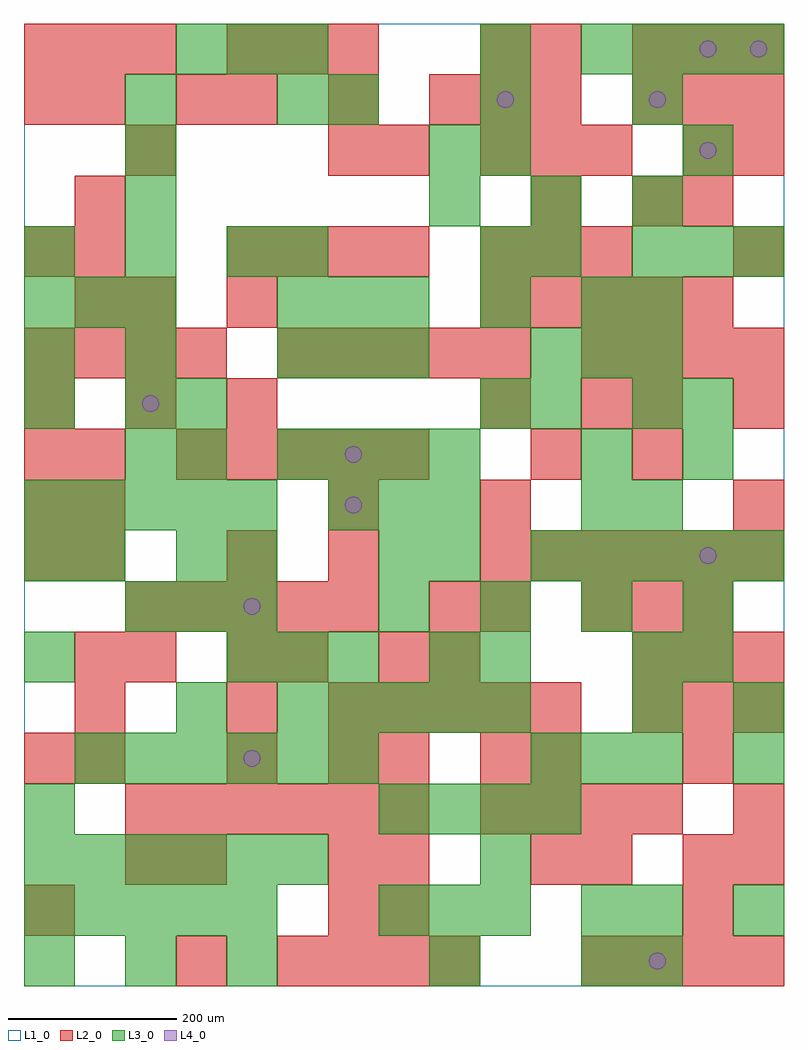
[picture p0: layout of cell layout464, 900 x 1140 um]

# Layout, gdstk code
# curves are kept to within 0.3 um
import gdstk
lib = gdstk.Library(unit=1e-6, precision=1e-09)
def R(c, l, rs):  # rectangles x0, y0, x1, y1
    for r in rs: c.add(gdstk.rectangle(r[:2], r[2:], *l))
def A(c, l, x, y, w, h, nx, ny, dx, dy):  # array of equal rectangles
    R(c, l, [(x+i*dx, y+j*dy, x+i*dx+w, y+j*dy+h) for i in range(nx) for j in range(ny)])
def P(c, l, *ps):  # polygons
    for p in ps: c.add(gdstk.Polygon(p, *l))
L1_0 = (1, 0)
L2_0 = (2, 0)
L3_0 = (3, 0)
L4_0 = (4, 0)

layout464 = lib.new_cell('layout464')
R(layout464, L1_0, [(0,0,900,1140)])
A(layout464, L2_0, 300, 0, 60, 60, 4, 1, 60, 0)
A(layout464, L2_0, 660, 0, 60, 60, 4, 2, 60, 720)
A(layout464, L2_0, 420, 120, 60, 60, 1, 3, 0, 120)
A(layout464, L2_0, 120, 180, 60, 60, 6, 1, 60, 0)
A(layout464, L2_0, 540, 180, 60, 60, 4, 1, 60, 0)
A(layout464, L2_0, 60, 240, 60, 60, 1, 3, 0, 60)
A(layout464, L2_0, 240, 240, 60, 60, 1, 3, 0, 60)
A(layout464, L2_0, 360, 300, 60, 60, 5, 1, 60, 0)
A(layout464, L2_0, 720, 300, 60, 60, 3, 2, 60, 60)
A(layout464, L2_0, 120, 420, 60, 60, 5, 1, 60, 0)
A(layout464, L2_0, 540, 420, 60, 60, 1, 3, 0, 120)
A(layout464, L2_0, 660, 420, 60, 60, 3, 1, 60, 0)
A(layout464, L2_0, 0, 480, 60, 60, 1, 3, 0, 60)
A(layout464, L2_0, 60, 480, 60, 60, 1, 3, 0, 60)
A(layout464, L2_0, 540, 480, 60, 60, 6, 1, 60, 0)
A(layout464, L2_0, 180, 600, 60, 60, 5, 1, 60, 0)
A(layout464, L2_0, 0, 660, 60, 60, 3, 1, 120, 0)
A(layout464, L2_0, 0, 720, 60, 60, 4, 1, 60, 0)
A(layout464, L2_0, 300, 720, 60, 60, 5, 1, 60, 0)
A(layout464, L2_0, 60, 780, 60, 60, 1, 3, 0, 60)
A(layout464, L2_0, 540, 780, 60, 60, 5, 1, 60, 0)
A(layout464, L2_0, 240, 840, 60, 60, 4, 1, 60, 0)
A(layout464, L2_0, 540, 840, 60, 60, 3, 2, 60, 120)
A(layout464, L2_0, 240, 1020, 60, 60, 3, 1, 120, 0)
A(layout464, L2_0, 720, 1020, 60, 60, 3, 2, 60, 60)
A(layout464, L2_0, 0, 1080, 60, 60, 3, 1, 60, 0)
A(layout464, L2_0, 240, 1080, 60, 60, 3, 1, 60, 0)
R(layout464, L2_0, [(180,0,240,60), (0,60,60,120), (360,60,420,120), (420,60,480,120), (780,60,840,120), (120,120,180,180), (180,120,240,180), (360,120,420,180), (600,120,660,180), (660,120,720,180), (780,120,840,180), (840,120,900,180), (840,180,900,240), (0,240,60,300), (360,240,420,300), (540,240,600,300), (600,240,660,300), (780,240,840,300), (120,360,180,420), (300,360,360,420), (480,360,540,420), (480,420,540,480), (240,480,300,540), (360,480,420,540), (360,540,420,600), (840,540,900,600), (600,600,660,660), (720,600,780,660), (660,660,720,720), (720,660,780,720), (840,660,900,720), (120,780,180,840), (240,780,300,840), (0,840,60,900), (840,840,900,900), (600,900,660,960), (720,900,780,960), (780,900,840,960), (120,960,180,1020), (360,960,420,1020), (420,960,480,1020), (780,960,840,1020), (840,960,900,1020), (0,1020,60,1080), (60,1020,120,1080), (180,1020,240,1080), (540,1020,600,1080), (600,1020,660,1080), (540,1080,600,1140), (600,1080,660,1140)])
A(layout464, L3_0, 0, 0, 60, 60, 3, 2, 120, 840)
A(layout464, L3_0, 0, 60, 60, 60, 5, 2, 60, 480)
A(layout464, L3_0, 420, 60, 60, 60, 3, 1, 60, 0)
A(layout464, L3_0, 0, 120, 60, 60, 6, 1, 60, 0)
A(layout464, L3_0, 420, 180, 60, 60, 4, 1, 60, 0)
A(layout464, L3_0, 60, 240, 60, 60, 6, 1, 60, 0)
A(layout464, L3_0, 600, 240, 60, 60, 3, 2, 60, 480)
A(layout464, L3_0, 300, 300, 60, 60, 5, 1, 60, 0)
A(layout464, L3_0, 240, 360, 60, 60, 3, 1, 60, 0)
A(layout464, L3_0, 120, 420, 60, 60, 3, 1, 60, 0)
A(layout464, L3_0, 420, 420, 60, 60, 4, 1, 120, 0)
A(layout464, L3_0, 600, 480, 60, 60, 5, 1, 60, 0)
A(layout464, L3_0, 360, 540, 60, 60, 3, 1, 60, 0)
A(layout464, L3_0, 720, 540, 60, 60, 1, 3, 0, 120)
A(layout464, L3_0, 120, 600, 60, 60, 1, 3, 0, 60)
A(layout464, L3_0, 300, 600, 60, 60, 4, 1, 60, 0)
A(layout464, L3_0, 300, 720, 60, 60, 3, 2, 60, 60)
A(layout464, L3_0, 0, 780, 60, 60, 3, 1, 60, 0)
A(layout464, L3_0, 540, 840, 60, 60, 1, 3, 0, 120)
A(layout464, L3_0, 720, 840, 60, 60, 3, 1, 60, 0)
A(layout464, L3_0, 120, 900, 60, 60, 1, 3, 0, 60)
A(layout464, L3_0, 480, 900, 60, 60, 3, 1, 120, 0)
A(layout464, L3_0, 360, 1020, 60, 60, 3, 1, 180, 0)
A(layout464, L3_0, 180, 1080, 60, 60, 3, 1, 60, 0)
A(layout464, L3_0, 660, 1080, 60, 60, 4, 1, 60, 0)
R(layout464, L3_0, [(480,0,540,60), (660,0,720,60), (720,0,780,60), (660,60,720,120), (720,60,780,120), (840,60,900,120), (540,120,600,180), (0,180,60,240), (840,240,900,300), (180,300,240,360), (720,300,780,360), (840,300,900,360), (0,360,60,420), (480,360,540,420), (540,360,600,420), (720,360,780,420), (780,360,840,420), (0,480,60,540), (60,480,120,540), (180,480,240,540), (240,480,300,540), (420,480,480,540), (480,480,540,540), (660,540,720,600), (180,600,240,660), (660,600,720,660), (780,600,840,660), (0,660,60,720), (180,660,240,720), (540,660,600,720), (600,660,660,720), (780,660,840,720), (0,720,60,780), (540,780,600,840), (660,780,720,840), (300,840,360,900), (600,840,660,900), (480,960,540,1020), (780,960,840,1020), (300,1020,360,1080)])
P(layout464, L4_0, [(160,690),(159.239,693.827),(157.071,697.071),(153.827,699.239),(150,700),(146.173,699.239),(142.929,697.071),(140.761,693.827),(140,690),(140.761,686.173),(142.929,682.929),(146.173,680.761),(150,680),(153.827,680.761),(157.071,682.929),(159.239,686.173)],
  [(280,270),(279.239,273.827),(277.071,277.071),(273.827,279.239),(270,280),(266.173,279.239),(262.929,277.071),(260.761,273.827),(260,270),(260.761,266.173),(262.929,262.929),(266.173,260.761),(270,260),(273.827,260.761),(277.071,262.929),(279.239,266.173)],
  [(280,450),(279.239,453.827),(277.071,457.071),(273.827,459.239),(270,460),(266.173,459.239),(262.929,457.071),(260.761,453.827),(260,450),(260.761,446.173),(262.929,442.929),(266.173,440.761),(270,440),(273.827,440.761),(277.071,442.929),(279.239,446.173)],
  [(400,570),(399.239,573.827),(397.071,577.071),(393.827,579.239),(390,580),(386.173,579.239),(382.929,577.071),(380.761,573.827),(380,570),(380.761,566.173),(382.929,562.929),(386.173,560.761),(390,560),(393.827,560.761),(397.071,562.929),(399.239,566.173)],
  [(400,630),(399.239,633.827),(397.071,637.071),(393.827,639.239),(390,640),(386.173,639.239),(382.929,637.071),(380.761,633.827),(380,630),(380.761,626.173),(382.929,622.929),(386.173,620.761),(390,620),(393.827,620.761),(397.071,622.929),(399.239,626.173)],
  [(580,1050),(579.239,1053.827),(577.071,1057.071),(573.827,1059.239),(570,1060),(566.173,1059.239),(562.929,1057.071),(560.761,1053.827),(560,1050),(560.761,1046.173),(562.929,1042.929),(566.173,1040.761),(570,1040),(573.827,1040.761),(577.071,1042.929),(579.239,1046.173)],
  [(760,30),(759.239,33.827),(757.071,37.071),(753.827,39.239),(750,40),(746.173,39.239),(742.929,37.071),(740.761,33.827),(740,30),(740.761,26.173),(742.929,22.929),(746.173,20.761),(750,20),(753.827,20.761),(757.071,22.929),(759.239,26.173)],
  [(760,1050),(759.239,1053.827),(757.071,1057.071),(753.827,1059.239),(750,1060),(746.173,1059.239),(742.929,1057.071),(740.761,1053.827),(740,1050),(740.761,1046.173),(742.929,1042.929),(746.173,1040.761),(750,1040),(753.827,1040.761),(757.071,1042.929),(759.239,1046.173)],
  [(820,510),(819.239,513.827),(817.071,517.071),(813.827,519.239),(810,520),(806.173,519.239),(802.929,517.071),(800.761,513.827),(800,510),(800.761,506.173),(802.929,502.929),(806.173,500.761),(810,500),(813.827,500.761),(817.071,502.929),(819.239,506.173)],
  [(820,990),(819.239,993.827),(817.071,997.071),(813.827,999.239),(810,1000),(806.173,999.239),(802.929,997.071),(800.761,993.827),(800,990),(800.761,986.173),(802.929,982.929),(806.173,980.761),(810,980),(813.827,980.761),(817.071,982.929),(819.239,986.173)],
  [(820,1110),(819.239,1113.827),(817.071,1117.071),(813.827,1119.239),(810,1120),(806.173,1119.239),(802.929,1117.071),(800.761,1113.827),(800,1110),(800.761,1106.173),(802.929,1102.929),(806.173,1100.761),(810,1100),(813.827,1100.761),(817.071,1102.929),(819.239,1106.173)],
  [(880,1110),(879.239,1113.827),(877.071,1117.071),(873.827,1119.239),(870,1120),(866.173,1119.239),(862.929,1117.071),(860.761,1113.827),(860,1110),(860.761,1106.173),(862.929,1102.929),(866.173,1100.761),(870,1100),(873.827,1100.761),(877.071,1102.929),(879.239,1106.173)])

lib.write_gds('layout464.gds')
